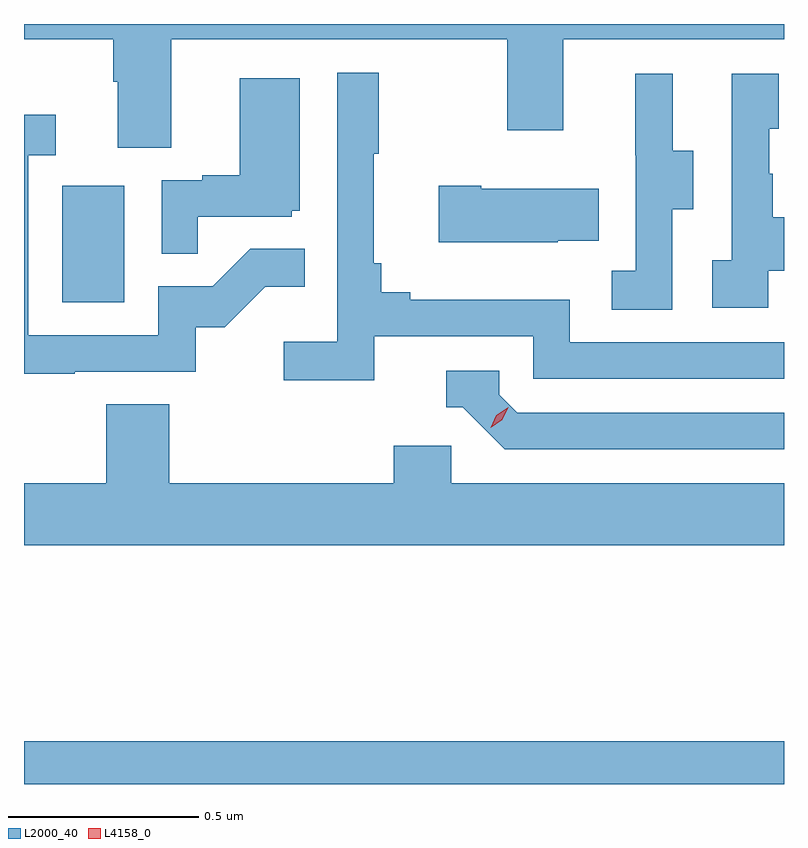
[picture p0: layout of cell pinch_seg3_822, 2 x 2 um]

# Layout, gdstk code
import gdstk
lib = gdstk.Library(unit=1e-6, precision=1e-09)
def R(c, l, rs):  # rectangles x0, y0, x1, y1
    for r in rs: c.add(gdstk.rectangle(r[:2], r[2:], *l))
def P(c, l, *ps):  # polygons
    for p in ps: c.add(gdstk.Polygon(p, *l))
L2000_40 = (2000, 40)
L4158_0 = (4158, 0)

pinch_seg3_822 = lib.new_cell('pinch_seg3_822')
R(pinch_seg3_822, L2000_40, [(875.62,716.272,877.62,716.384), (875.72,717.54,875.884,717.847)])
P(pinch_seg3_822, L2000_40, [(876.007,718.232),(876.892,718.232),(876.892,717.993),(877.039,717.993),(877.039,718.232),(877.62,718.232),(877.62,718.272),(875.62,718.272),(875.62,718.232),(875.855,718.232),(875.855,718.12),(875.867,718.12),(875.867,717.946),(876.007,717.946)],
  [(876.542,717.45),(876.96,717.45),(876.96,717.339),(877.62,717.339),(877.62,717.435),(877.056,717.435),(877.056,717.547),(876.637,717.547),(876.637,717.566),(876.56,717.566),(876.56,717.643),(876.541,717.643),(876.541,717.931),(876.553,717.931),(876.553,718.144),(876.444,718.144),(876.444,717.436),(876.303,717.436),(876.303,717.334),(876.542,717.334)],
  [(877.326,717.784),(877.381,717.784),(877.381,717.939),(877.327,717.939),(877.327,718.141),(877.229,718.141),(877.229,717.927),(877.23,717.927),(877.23,717.623),(877.167,717.623),(877.167,717.52),(877.326,717.52)],
  [(877.578,717.623),(877.62,717.623),(877.62,717.763),(877.591,717.763),(877.591,717.878),(877.581,717.878),(877.581,717.996),(877.606,717.996),(877.606,718.141),(877.482,718.141),(877.482,717.65),(877.431,717.65),(877.431,717.525),(877.578,717.525)],
  [(876.077,717.765),(876.324,717.765),(876.324,717.78),(876.346,717.78),(876.346,718.129),(876.188,718.129),(876.188,717.874),(876.089,717.874),(876.089,717.861),(875.982,717.861),(875.982,717.667),(876.077,717.667)],
  [(875.753,717.357),(876.072,717.357),(876.072,717.474),(876.148,717.474),(876.255,717.581),(876.359,717.581),(876.359,717.68),(876.215,717.68),(876.117,717.582),(875.973,717.582),(875.973,717.453),(875.631,717.453),(875.631,717.927),(875.704,717.927),(875.704,718.033),(875.62,718.033),(875.62,717.352),(875.753,717.352)],
  [(877.025,717.701),(877.133,717.701),(877.133,717.838),(876.823,717.838),(876.823,717.846),(876.711,717.846),(876.711,717.698),(877.025,717.698)],
  [(877.62,717.249),(876.918,717.249),(876.87,717.297),(876.87,717.36),(876.731,717.36),(876.731,717.264),(876.774,717.264),(876.885,717.153),(877.62,717.153)],
  [(877.62,717.064),(876.744,717.064),(876.744,717.162),(876.593,717.162),(876.593,717.064),(876.002,717.064),(876.002,717.272),(875.837,717.272),(875.837,717.064),(875.62,717.064),(875.62,716.9),(877.62,716.9)])
P(pinch_seg3_822, L4158_0, [(876.848,717.21),(876.848,717.21),(876.863,717.243),(876.894,717.263),(876.894,717.263),(876.894,717.263),(876.878,717.23),(876.848,717.21)])

lib.write_gds('pinch_seg3_822.gds')
